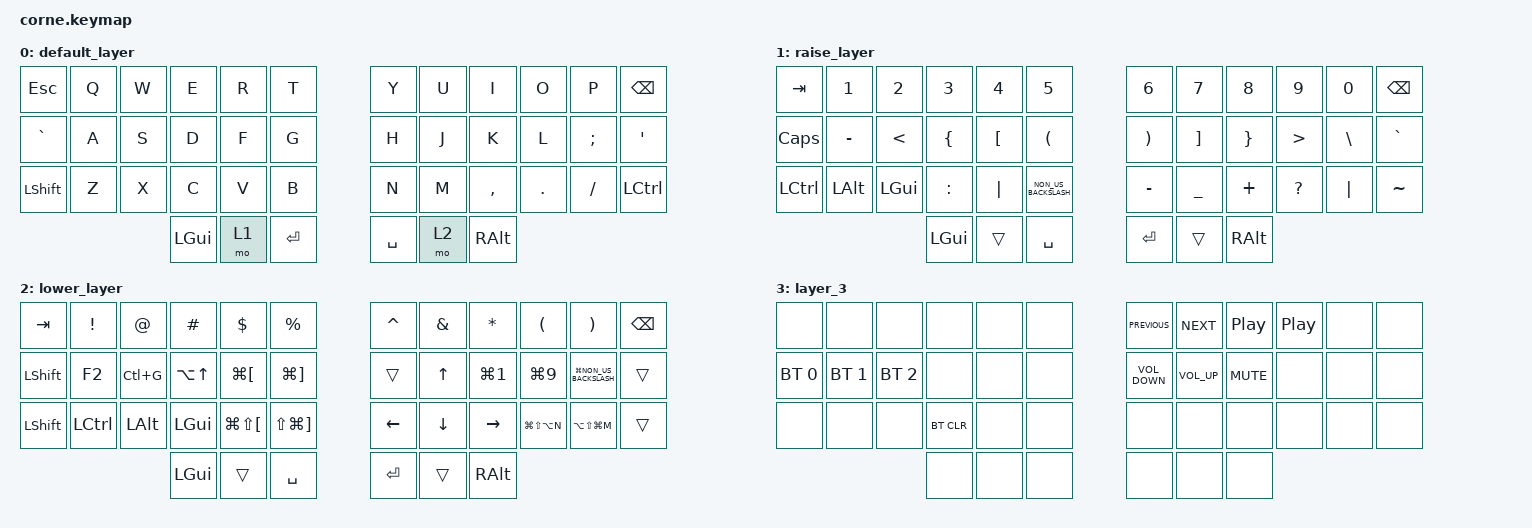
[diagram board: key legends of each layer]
/*
 * Copyright (c) 2020 The ZMK Contributors
 *
 * SPDX-License-Identifier: MIT
 */

#include <behaviors.dtsi>
#include <dt-bindings/zmk/bt.h>
#include <dt-bindings/zmk/keys.h>

/ {
    combos {
        compatible = "zmk,combos";

        layer3 {
            bindings = <&mo 3>;
            key-positions = <37 40>;
        };

        equal {
            bindings = <&kp EQUAL>;
            key-positions = <33 32>;
        };

        colon {
            bindings = <&kp COLON>;
            key-positions = <22 21>;
        };

        grave {
            bindings = <&kp GRAVE>;
            key-positions = <21 22>;
        };

        question {
            bindings = <&kp QUESTION>;
            key-positions = <34 33>;
        };

        tidle {
            bindings = <&kp TILDE>;
            key-positions = <35 12>;
        };

        pipe {
            bindings = <&kp PIPE>;
            key-positions = <35 34>;
        };
    };

    keymap {
        compatible = "zmk,keymap";

        default_layer {
            // -----------------------------------------------------------------------------------------
            // |  TAB |  Q  |  W  |  E  |  R  |  T  |   |  Y  |  U   |  I  |  O  |  P  | BKSP |
            // | CTRL |  A  |  S  |  D  |  F  |  G  |   |  H  |  J   |  K  |  L  |  ;  |  '   |
            // | SHFT |  Z  |  X  |  C  |  V  |  B  |   |  N  |  M   |  ,  |  .  |  /  | ESC  |
            //                    | GUI | LWR | SPC |   | ENT | RSE  | ALT |

            bindings = <
&kp ESC         &kp Q  &kp W  &kp E     &kp R  &kp T        &kp Y      &kp U  &kp I      &kp O    &kp P     &kp BSPC
&kp GRAVE       &kp A  &kp S  &kp D     &kp F  &kp G        &kp H      &kp J  &kp K      &kp L    &kp SEMI  &kp SQT
&kp LEFT_SHIFT  &kp Z  &kp X  &kp C     &kp V  &kp B        &kp N      &kp M  &kp COMMA  &kp DOT  &kp FSLH  &kp LCTRL
                              &kp LGUI  &mo 1  &kp ENTER    &kp SPACE  &mo 2  &kp RALT
            >;
        };

        raise_layer {
            // -----------------------------------------------------------------------------------------
            // |  TAB |  !  |  @  |  #  |  $  |  %  |   |  ^  |  &  |  *  |  (  |  )  | BKSP |
            // | CTRL |     |     |     |     |     |   |  -  |  =  |  [  |  ]  |  \  |  `   |
            // | SHFT |     |     |     |     |     |   |  _  |  +  |  {  |  }  | "|" |  ~   |
            //                    | GUI |     | SPC |   | ENT |     | ALT |

            bindings = <
&kp TAB       &kp NUMBER_1  &kp NUMBER_2   &kp NUMBER_3    &kp NUMBER_4      &kp NUMBER_5            &kp NUMBER_6           &kp NUMBER_7       &kp NUMBER_8     &kp N9            &kp N0    &kp BSPC
&kp CAPSLOCK  &kp MINUS     &kp LESS_THAN  &kp LEFT_BRACE  &kp LEFT_BRACKET  &kp LEFT_PARENTHESIS    &kp RIGHT_PARENTHESIS  &kp RIGHT_BRACKET  &kp RIGHT_BRACE  &kp GREATER_THAN  &kp BSLH  &kp GRAVE
&kp LCTRL     &kp LALT      &kp LEFT_GUI   &kp COLON       &kp PIPE          &kp NON_US_BACKSLASH    &kp MINUS              &kp UNDERSCORE     &kp PLUS         &kp QUESTION      &kp PIPE  &kp TILDE
                                           &kp LGUI        &trans            &kp SPACE               &kp RET                &trans             &kp RALT
            >;
        };

        lower_layer {
            // -----------------------------------------------------------------------------------------
            // |  TAB |  1  |  2  |  3  |  4  |  5  |   |  6  |  7  |  8  |  9  |  0  | BKSP |
            // | BTCLR| BT1 | BT2 | BT3 | BT4 | BT5 |   | LFT | DWN |  UP | RGT |     |      |
            // | SHFT |     |     |     |     |     |   |     |     |     |     |     |      |
            //                    | GUI |     | SPC |   | ENT |     | ALT |

            bindings = <
&kp TAB         &kp EXCLAMATION   &kp AT_SIGN   &kp HASH          &kp DOLLAR                &kp PERCENT                  &kp CARET  &kp AMPERSAND  &kp ASTERISK      &kp LEFT_PARENTHESIS  &kp RIGHT_PARENTHESIS     &kp BSPC
&kp LSHFT       &kp F2            &kp LC(G)     &kp LA(UP_ARROW)  &kp LG(LEFT_BRACKET)      &kp LG(RIGHT_BRACKET)        &trans     &kp UP_ARROW   &kp LG(NUMBER_1)  &kp LG(N9)            &kp LG(NON_US_BACKSLASH)  &trans
&kp LEFT_SHIFT  &kp LEFT_CONTROL  &kp LEFT_ALT  &kp LGUI          &kp LG(LS(LEFT_BRACKET))  &kp LS(LG(RIGHT_BRACKET))    &kp LEFT   &kp DOWN       &kp RIGHT         &kp LG(LS(LA(N)))     &kp LA(LS(LG(M)))         &trans
                                                &kp LGUI          &trans                    &kp SPACE                    &kp RET    &trans         &kp RALT
            >;
        };

        layer_3 {
            bindings = <
&none         &none         &none         &none       &none  &none    &kp C_PREVIOUS     &kp C_NEXT       &kp C_PLAY_PAUSE  &kp C_PP  &none  &none
&bt BT_SEL 0  &bt BT_SEL 1  &bt BT_SEL 2  &none       &none  &none    &kp C_VOLUME_DOWN  &kp C_VOLUME_UP  &kp K_MUTE        &none     &none  &none
&none         &none         &none         &bt BT_CLR  &none  &none    &none              &none            &none             &none     &none  &none
                                          &none       &none  &none    &none              &none            &none
            >;
        };
    };
};
